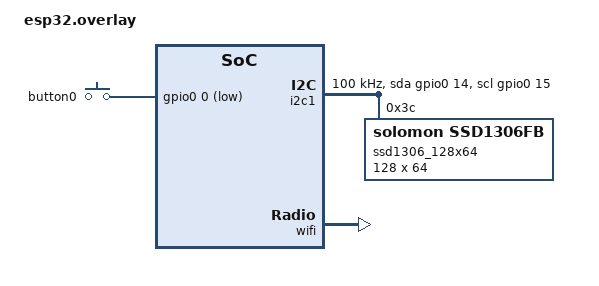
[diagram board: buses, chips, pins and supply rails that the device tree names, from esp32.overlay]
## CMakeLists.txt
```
# SPDX-License-Identifier: Apache-2.0

cmake_minimum_required(VERSION 3.20.0)

find_package(Zephyr REQUIRED HINTS $ENV{ZEPHYR_BASE})
project(client_zephyrproj)

FILE(GLOB app_sources src/*.c)
target_sources(app PRIVATE ${app_sources})
```

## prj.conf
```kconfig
CONFIG_EARLY_CONSOLE=y

CONFIG_NET_TX_STACK_SIZE=2048
CONFIG_NET_RX_STACK_SIZE=2048

CONFIG_NET_PKT_RX_COUNT=10
CONFIG_NET_PKT_TX_COUNT=10
CONFIG_NET_BUF_RX_COUNT=20
CONFIG_NET_BUF_TX_COUNT=20
CONFIG_NET_MAX_CONTEXTS=10

CONFIG_NET_LOG=y
CONFIG_INIT_STACKS=y


CONFIG_NET_STATISTICS_PERIODIC_OUTPUT=n

CONFIG_GPIO=y
CONFIG_WIFI=y
CONFIG_NET_L2_ETHERNET=y
CONFIG_I2C=y

CONFIG_ERRNO=y
CONFIG_UART_CONSOLE=y

CONFIG_GPIO_ESP32=y
CONFIG_I2C_ESP32=y

CONFIG_DISPLAY=y
CONFIG_DISPLAY_INIT_PRIORITY=99
CONFIG_SSD1306=y
CONFIG_SSD1306_DEFAULT_CONTRAST=255
CONFIG_SSD1306_REVERSE_MODE=y

CONFIG_WIFI_ESP32=y
CONFIG_ESP32_WIFI_STA_AUTO_DHCPV4=y

CONFIG_CHARACTER_FRAMEBUFFER=y

CONFIG_NETWORKING=y
CONFIG_NET_L2_WIFI_SHELL=y

CONFIG_NET_IPV6=n
CONFIG_NET_IPV4=y
CONFIG_NET_DHCPV4=y
CONFIG_NET_SHELL=y
CONFIG_NET_TCP=y
CONFIG_NET_UDP=y
CONFIG_NET_STATISTICS=y

CONFIG_NET_SOCKETS=y

CONFIG_NET_CONFIG_SETTINGS=y

CONFIG_SHELL=y
```

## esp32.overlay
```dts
/ {
	chosen {
		zephyr,display = &ssd1306_128x64;
	};

	buttons {
		compatible = "gpio-keys";
		button0: button_0 {
			gpios = <&gpio0 0 GPIO_ACTIVE_LOW>;
		};
	};
};

&i2c1 {
	status = "okay";

    clock-frequency = <I2C_BITRATE_STANDARD>;
	sda-gpios = <&gpio0 14 GPIO_OPEN_DRAIN>;
	scl-gpios = <&gpio0 15 GPIO_OPEN_DRAIN>;
	pinctrl-0 = <&i2c1_default>;
	pinctrl-names = "default";

    ssd1306_128x64: ssd1306@3c {
        compatible = "solomon,ssd1306fb";
        reg = <0x3c>;
        width = <128>;
        height = <64>;
        segment-offset = <0>;
		page-offset = <0>;
		display-offset = <0>;
		multiplex-ratio = <63>;
		segment-remap;
		com-invdir;
		prechargep = <0x22>;
    };
};

&wifi {
	status = "okay";
};

&pinctrl {

	i2c1_default: i2c1_default {
		group1 {
			pinmux = <I2C1_SDA_GPIO14>,
					 <I2C1_SCL_GPIO15>;
			bias-pull-up;
			drive-open-drain;
			output-high;
		};
	};

};
```

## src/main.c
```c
// LOGGING
#include <zephyr/logging/log.h>
LOG_MODULE_REGISTER(net_http_client_sample, LOG_LEVEL_DBG);
// CLANG
#include <stdio.h>
#include <string.h>
// KERNEL & MISC
#include <zephyr/kernel.h>
#include <zephyr/device.h>
#include <zephyr/devicetree.h>
#include <zephyr/shell/shell.h>
#include <zephyr/drivers/gpio.h>
#include <zephyr/display/cfb.h>
// NET
#include <zephyr/net/net_if.h>
#include <zephyr/net/wifi_mgmt.h>
#include <zephyr/net/net_ip.h>
#include <zephyr/net/socket.h>
#include <zephyr/net/http/client.h>
#include <zephyr/net/http/parser.h>

#include <zephyr/display/cfb.h>

static int doRequest(void);

#define MAX_RECV_BUF_LEN 512

static const struct device *display_dev;

static uint8_t font_width;
static uint8_t font_height;

static void initDisplay(const struct device *dev) {
	display_set_pixel_format(dev, PIXEL_FORMAT_MONO10);
	cfb_framebuffer_init(dev);

	cfb_framebuffer_clear(dev, true);
	display_blanking_off(dev);

	cfb_framebuffer_set_font(dev, 1);
	cfb_get_font_size(dev, 1, &font_width, &font_height);
}

static void printDisplay(const struct device *dev, const char *str) 
{
	printf("displaying: %s\n", str);
	cfb_framebuffer_clear(dev, false);
	cfb_print(dev, str, 0, 0);
	cfb_framebuffer_finalize(dev);
}

static bool connected = false;
struct net_mgmt_event_callback wifi_cb;
void net_cb_hdr(struct net_mgmt_event_callback *cb,
			uint32_t mgmt_event,
			struct net_if *iface)
{
	if (mgmt_event == NET_EVENT_WIFI_CONNECT_RESULT) {
		printDisplay(display_dev, "Wifi connected");
		connected = true;
	}
}

#define DEBOUNCE_TIMEOUT_MS 50
static const struct gpio_dt_spec button = GPIO_DT_SPEC_GET(DT_NODELABEL(button0), gpios);

uint64_t last_time = 0;
static char addr_str[32];
struct gpio_callback button_cb;
static bool flag = false;
void bt_cb_hdr(const struct device *dev, struct gpio_callback *cb, uint32_t pins) 
{
	// debouncing
	uint64_t now = k_uptime_get();
	if ((now - last_time) > DEBOUNCE_TIMEOUT_MS)
	{
		printf("Pushbutton pressed\n");
		flag = true;
	}
	last_time = now;
}

static uint8_t recv_buf_ipv4[MAX_RECV_BUF_LEN];

static void response_cb(struct http_response *rsp,
			enum http_final_call final_data,
			void *user_data)
{
	printf("\tgot response\n");
	if (final_data == HTTP_DATA_MORE) {
		LOG_INF("Partial data received (%zd bytes)", rsp->data_len);
	} else if (final_data == HTTP_DATA_FINAL) {
		LOG_INF("All the data received (%zd bytes)", rsp->data_len);
	}

	LOG_INF("Response to %s", (const char *)user_data);
	LOG_INF("Response status %s", rsp->http_status);
}

static int doRequest(void)
{
	int fd_socket = socket(AF_INET, SOCK_STREAM, IPPROTO_TCP);
	printf("\tsocket\n");
	struct sockaddr_in addr;
	memset(&addr, 0, sizeof(addr));
	addr.sin_family = AF_INET;
	addr.sin_port = htons(80);
	zsock_inet_pton(AF_INET, addr_str, &addr.sin_addr);

	int ret = zsock_connect(fd_socket, (struct sockaddr *)&addr, sizeof(addr));
	printf("\tconnect\n");

	if (ret < 0) {
		LOG_ERR("Cannot connect to remote (%d)", -errno);
	}

	struct http_request req;
	memset(&req, 0, sizeof(req));

	req.method = HTTP_GET;
	req.url = "/";
	req.host = addr_str;
	req.protocol = "HTTP/1.1";
	req.response = response_cb;
	req.recv_buf = recv_buf_ipv4;
	req.recv_buf_len = sizeof(recv_buf_ipv4);

	printf("\tsending request\n");
	ret = http_client_req(fd_socket, &req, 3000, "IPv4 GET");
	
	close(fd_socket);
	printf("\tclose\n");

	return ret;
}

void main(void)
{
    // Init Display
	display_dev = DEVICE_DT_GET(DT_CHOSEN(zephyr_display));
	initDisplay(display_dev);

    // Init WIFI Connection
	static struct net_if *wifi_if;
	wifi_if = net_if_get_default();
	static const struct device *wifi_dev;
	wifi_dev = net_if_get_device(wifi_if);

	net_mgmt_init_event_callback(&wifi_cb, net_cb_hdr, NET_EVENT_WIFI_CONNECT_RESULT);
	net_mgmt_add_event_callback(&wifi_cb);

	printDisplay(display_dev, "connecting");

	struct wifi_connect_req_params params;
	params.ssid = "NOTEBOOK-MINWOO";
	params.ssid_length = 15;
	params.psk = "01087655202";
	params.psk_length = 11;
	params.security = WIFI_SECURITY_TYPE_PSK;

	((struct net_wifi_mgmt_offload *)(wifi_dev->api))->connect(wifi_dev, &params);

	while (!connected) k_msleep(500);

	struct net_if_ipv4 * cfg;
	net_if_config_ipv4_get(wifi_if, &cfg);
	
	inet_ntop(AF_INET, &(cfg->gw), addr_str, sizeof(addr_str));
	printf("\tDHCP Done. Destination is : %s\n", addr_str);
	printDisplay(display_dev, addr_str);

	// Init Pushbutton
	gpio_pin_configure_dt(&button, GPIO_INPUT);
	gpio_pin_interrupt_configure_dt(&button, GPIO_INT_EDGE_TO_ACTIVE);

	gpio_init_callback(&button_cb, bt_cb_hdr, BIT(button.pin));
	gpio_add_callback(button.port, &button_cb);
	
	// Loop
	while (1) {
		if (flag) {
			
			if (doRequest() >= 0) {
				cfb_framebuffer_clear(display_dev, false);

				int row = 0;
				int start = 0;
				bool body = false;
				for (int i=0; i < MAX_RECV_BUF_LEN; i++) {
					if (recv_buf_ipv4[i] == '\n' || recv_buf_ipv4[i] == '\0') {
						int len = i - start;
						if (body) {
							char* tmp = k_malloc(len + 1);
							memcpy(tmp, &recv_buf_ipv4[start], len);
							tmp[len] = '\0';
							printf("%s\n",tmp);
							cfb_print(display_dev, tmp, 0, font_height * row++);
							k_free(tmp);
						}
						if (recv_buf_ipv4[i] == '\0') break;
						if (len == 1) body = true;
						start = i + 1;
					}
				}

				if (body) cfb_framebuffer_finalize(display_dev);

			}

			

			flag = false;
		}

		k_cpu_idle();

	}
}
```
